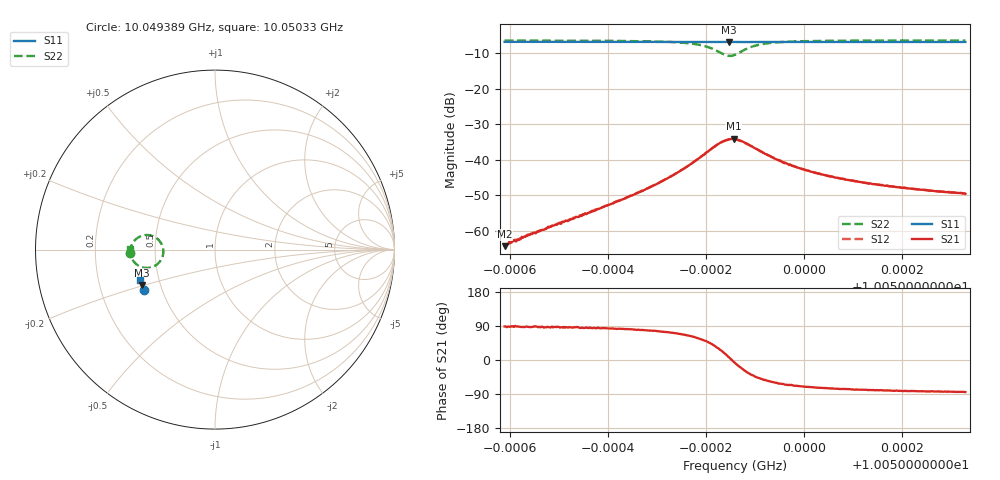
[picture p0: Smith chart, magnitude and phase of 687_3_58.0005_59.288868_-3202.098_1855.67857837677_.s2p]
#  HZ  S  RI  R  50.00
! Rohde & Schwarz Vector Network Analyzer
! Rohde-Schwarz,ZNB20-2Port,1311601062101988,3.16
! Created: UTC 3/21/2024, 1:21:07 AM
! freq[Hz]  re:S11  im:S11  re:S21  im:S21  re:S12  im:S12  re:S22  im:S22
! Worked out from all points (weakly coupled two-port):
!   401 points, 10.049389 GHz to 10.05033 GHz, reference 50 ohm
!   highest |S21| = -34.15 dB at 10.049857 GHz (marker M1); lowest = -64.4 dB at 10.049389 GHz (marker M2)
!   lowest |S11| = -6.9 dB at 10.049848 GHz (marker M3), VSWR 2.64, Z = 19.8 - j9.78 ohm
!   |S11| at or under -10 dB: nowhere
!   |S22| runs from -10.8 to -6.5 dB; largest |S21 - S12| = 0.0014
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1.00493886e10  -0.3944 -0.2249  1.71e-05 0.000604  -6.41e-06 0.000623  -0.4739 -0.018
1.00494027e10  -0.3949 -0.2241  9.99e-06 0.000693  -3.25e-05 0.00068  -0.4737 -0.0164
1.00494168e10  -0.3954 -0.2232  2.16e-05 0.000739  -1.36e-05 0.000745  -0.4737 -0.0148
1.00494286e10  -0.3958 -0.2225  4.54e-05 0.000824  -3.34e-05 0.000819  -0.4735 -0.0136
1.00495463e10  -0.3993 -0.2155  0.000132 0.0016  2.75e-05 0.00166  -0.4716 0.00218
1.00496357e10  -0.402 -0.2101  0.000414 0.00282  0.000251 0.00287  -0.4669 0.0192
1.0049704e10  -0.4038 -0.2058  0.00117 0.00454  0.000926 0.00464  -0.4569 0.0392
1.00497393e10  -0.4048 -0.2037  0.00212 0.00604  0.00185 0.00615  -0.4449 0.054
1.00497699e10  -0.4054 -0.2017  0.004 0.00774  0.0036 0.00797  -0.4242 0.0697
1.00498075e10  -0.406 -0.1991  0.00962 0.00961  0.00912 0.01  -0.3677 0.0806
1.00498287e10  -0.4059 -0.1979  0.0153 0.00783  0.0147 0.00864  -0.317 0.0568
1.00498475e10  -0.4059 -0.1971  0.0192 0.00202  0.0189 0.00309  -0.2882 -0.00267
1.00498569e10  -0.406 -0.1971  0.0195 -0.00173  0.0193 -0.000415  -0.292 -0.038
1.00498593e10  -0.4061 -0.1971  0.0192 -0.00272  0.0192 -0.00134  -0.295 -0.0462
1.00498828e10  -0.4071 -0.1964  0.0144 -0.0088  0.015 -0.0078  -0.3489 -0.097
1.00499158e10  -0.4088 -0.1946  0.0079 -0.00977  0.00848 -0.00927  -0.4127 -0.0963
1.00499581e10  -0.4101 -0.192  0.00405 -0.0081  0.00452 -0.00801  -0.4473 -0.0727
1.00499817e10  -0.4109 -0.1906  0.00302 -0.00735  0.00349 -0.00719  -0.4564 -0.0616
1.0050017e10  -0.412 -0.1884  0.00212 -0.00634  0.00249 -0.00626  -0.4639 -0.0484
1.00500899e10  -0.414 -0.1838  0.00118 -0.00504  0.00148 -0.00501  -0.4709 -0.0292
1.00501746e10  -0.416 -0.1787  0.000715 -0.00415  0.000927 -0.00413  -0.4737 -0.0145
1.005033e10  -0.4199 -0.169  0.000311 -0.00328  0.000521 -0.0033  -0.4752 0.00443
